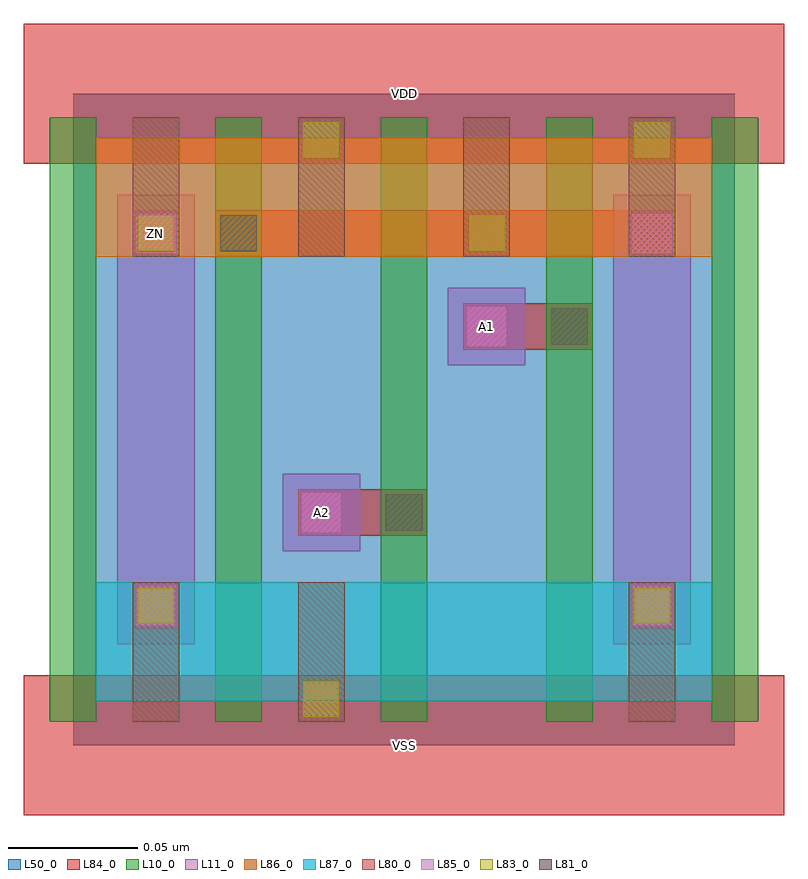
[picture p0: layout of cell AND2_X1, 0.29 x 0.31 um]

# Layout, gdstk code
import gdstk
lib = gdstk.Library(unit=1e-6, precision=1e-09)
def R(c, l, rs):  # rectangles x0, y0, x1, y1
    for r in rs: c.add(gdstk.rectangle(r[:2], r[2:], *l))
def A(c, l, x, y, w, h, nx, ny, dx, dy):  # array of equal rectangles
    R(c, l, [(x+i*dx, y+j*dy, x+i*dx+w, y+j*dy+h) for i in range(nx) for j in range(ny)])
L10_0 = (10, 0)
L11_0 = (11, 0)
L50_0 = (50, 0)
L80_0 = (80, 0)
L81_0 = (81, 0)
L83_0 = (83, 0)
L84_0 = (84, 0)
L85_0 = (85, 0)
L86_0 = (86, 0)
L87_0 = (87, 0)

and2_x1 = lib.new_cell('AND2_X1')
A(and2_x1, L10_0, -0.009, 0.009, 0.018, 0.234, 5, 1, 0.064, 0)
R(and2_x1, L11_0, [(0.017,0.039,0.047,0.213), (0.209,0.039,0.239,0.213), (0.081,0.075,0.111,0.105), (0.145,0.147,0.175,0.177)])
R(and2_x1, L50_0, [(0,0,0.256,0.252)])
A(and2_x1, L80_0, 0.023, 0.189, 0.018, 0.054, 4, 1, 0.064, 0)
R(and2_x1, L80_0, [(0.023,0.009,0.041,0.063), (0.087,0.009,0.105,0.063), (0.215,0.009,0.233,0.063)])
R(and2_x1, L81_0, [(0.121,0.083,0.135,0.097), (0.185,0.155,0.199,0.169), (0.057,0.191,0.071,0.205)])
R(and2_x1, L83_0, [(0.089,0.011,0.103,0.025), (0.025,0.047,0.039,0.061), (0.217,0.047,0.231,0.061), (0.025,0.191,0.039,0.205), (0.153,0.191,0.167,0.205), (0.089,0.227,0.103,0.241), (0.217,0.227,0.231,0.241)])
R(and2_x1, L84_0, [(-0.019,-0.027,0.275,0.027), (0.023,0.045,0.041,0.063), (0.215,0.045,0.233,0.063), (0.087,0.081,0.137,0.099), (0.151,0.153,0.201,0.171), (0.023,0.189,0.041,0.207), (0.055,0.189,0.233,0.207), (-0.019,0.225,0.275,0.279)])
R(and2_x1, L85_0, [(0.024,0.046,0.04,0.062), (0.216,0.046,0.232,0.062), (0.088,0.082,0.104,0.098), (0.152,0.154,0.168,0.17), (0.024,0.19,0.04,0.206), (0.216,0.19,0.232,0.206)])
R(and2_x1, L86_0, [(0.009,0.189,0.247,0.235)])
R(and2_x1, L87_0, [(0.009,0.017,0.247,0.063)])
and2_x1.add(gdstk.Label('VDD', (0.128,0.252), layer=88, texttype=0))
and2_x1.add(gdstk.Label('VSS', (0.128,0), layer=88, texttype=0))
and2_x1.add(gdstk.Label('ZN', (0.032,0.198), layer=31, texttype=0))
and2_x1.add(gdstk.Label('A2', (0.096,0.09), layer=31, texttype=0))
and2_x1.add(gdstk.Label('A1', (0.16,0.162), layer=31, texttype=0))

lib.write_gds('AND2_X1.gds')
